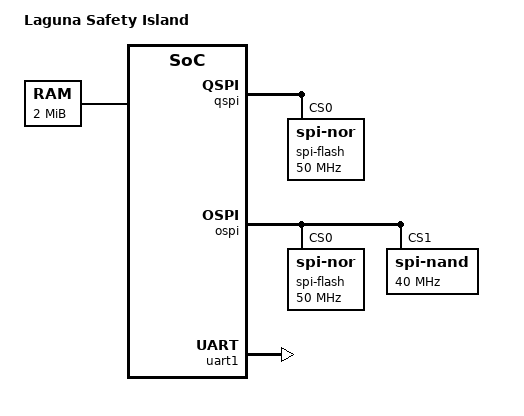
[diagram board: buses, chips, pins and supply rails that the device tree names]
// SPDX-License-Identifier: GPL-2.0
/*
 * dts file for Laguna R5F
 *
 * Copyright (C) 2024 Charleye <wangkart@aliyun.com>
 *
 */

/dts-v1/;

/ {
	#address-cells = <1>;
	#size-cells = <1>;
	compatible = "axera,laguna-r5f";
	model = "Laguna Safety Island";

	cpus {
		#address-cells = <0x1>;
		#size-cells = <0x0>;

		cpu@0 {
			compatible = "arm,cortex-r5f";
			device_type = "cpu";
			reg = <0>;
		};
	};

	aliases {
		serial0 = &uart1;
	};

	memory@0 {
		device_type = "memory";
		reg = <0x00200000 0x200000>;
	};

	chosen {
		bootargs = "";
		stdout-path = "serial0:115200n8";
	};

	clk100: clk100 {
		compatible = "fixed-clock";
		#clock-cells = <0>;
		clock-frequency = <100000000>;
		u-boot,dm-pre-reloc;
	};

	amba {
		u-boot,dm-pre-reloc;
		compatible = "simple-bus";
		#address-cells = <1>;
		#size-cells = <1>;
		ranges;

		qspi: spi@0051F000 {
			#address-cells = <1>;
			#size-cells = <0>;
			compatible ="snps,dwc-ssi-1.01a";
			reg = <0x0051F000 0x1000>;
			/* Could possibly go up to 200 MHz */
			spi-max-frequency = <100000000>;
			num-cs = <4>;
			reg-io-width = <4>;
			u-boot,dm-pre-reloc;
			u-boot,dm-spl;
			status = "okay";

			spi-flash@0 {
				compatible = "jedec,spi-nor";
				reg = <0>;
				spi-max-frequency = <50000000>;
				spi-tx-bus-width = <4>;
				spi-rx-bus-width = <4>;
				m25p,fast-read;
				broken-flash-reset;
				u-boot,dm-pre-reloc;
				u-boot,dm-spl;
			};
		};

		ospi: spi@0C040000 {
			#address-cells = <1>;
			#size-cells = <0>;
			compatible ="snps,dwc-ssi-1.01a";
			reg = <0x0C040000 0x1000>;
			/* Could possibly go up to 200 MHz */
			spi-max-frequency = <100000000>;
			num-cs = <4>;
			reg-io-width = <4>;
			u-boot,dm-pre-reloc;
			u-boot,dm-spl;
			status = "okay";

			spi-flash@0 {
				compatible = "jedec,spi-nor";
				reg = <0>;
				spi-max-frequency = <50000000>;
				spi-tx-bus-width = <4>;
				spi-rx-bus-width = <4>;
				m25p,fast-read;
				broken-flash-reset;
				u-boot,dm-pre-reloc;
				u-boot,dm-spl;
			};

			spi-nand@1 {
				compatible = "spi-nand";
				spi-max-frequency = <40000000>;
				reg = <1>;
				u-boot,dm-pre-reloc;
				u-boot,dm-spl;
			};
		};

		ttc0: timer@ff110000 {
			compatible = "cdns,ttc";
			reg = <0x00657000 0x1000>;
			timer-width = <32>;
			clocks = <&clk100>;
			u-boot,dm-pre-reloc;
		};

		uart1: serial@00602000 {
			compatible = "snps,dw-apb-uart";
			reg = <0x00602000 0x1000>;
			reg-shift = <2>;
			reg-io-width = <4>;
			clock-frequency = <192000000>; //192MHz
			u-boot,dm-pre-reloc;
		};
	};
};
